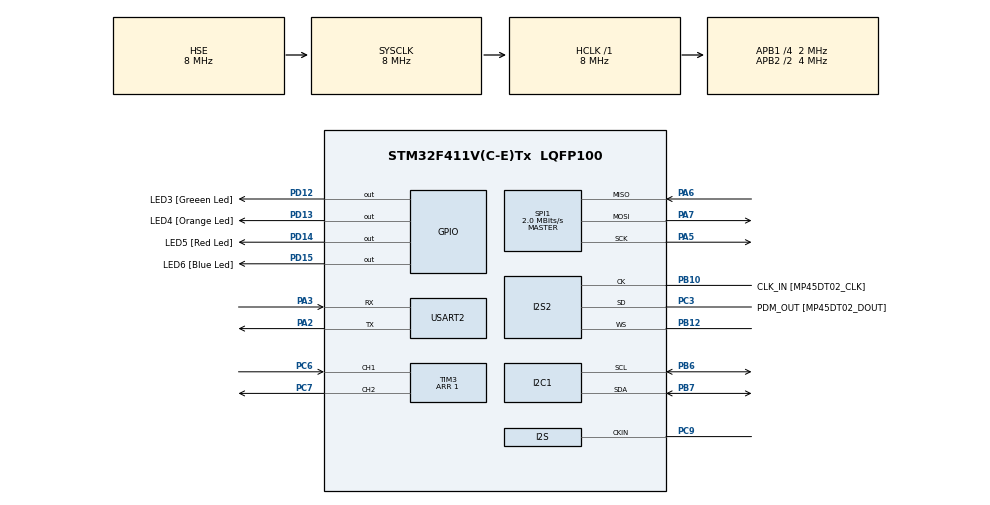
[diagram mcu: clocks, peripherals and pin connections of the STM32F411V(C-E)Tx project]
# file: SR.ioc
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Dma.Request0=SPI2_RX
Dma.SPI2_RX.0.Direction=DMA_PERIPH_TO_MEMORY
Dma.SPI2_RX.0.FIFOMode=DMA_FIFOMODE_DISABLE
Dma.SPI2_RX.0.Instance=DMA1_Stream3
Dma.SPI2_RX.0.MemDataAlignment=DMA_MDATAALIGN_HALFWORD
Dma.SPI2_RX.0.MemInc=DMA_MINC_ENABLE
Dma.SPI2_RX.0.Mode=DMA_CIRCULAR
Dma.SPI2_RX.0.PeriphDataAlignment=DMA_PDATAALIGN_HALFWORD
Dma.SPI2_RX.0.PeriphInc=DMA_PINC_DISABLE
Dma.SPI2_RX.0.Priority=DMA_PRIORITY_HIGH
I2S2.AudioFreq=I2S_AUDIOFREQ_16K
I2S2.DataFormat=I2S_DATAFORMAT_16B_EXTENDED
I2S2.ErrorAudioFreq=0.0 %
I2S2.FullDuplexMode=I2S_FULLDUPLEXMODE_DISABLE
I2S2.Instance=SPI$Index
I2S2.Mode=I2S_MODE_MASTER_RX
I2S2.RealAudioFreq=16.0 KHz
I2S2.Standard=I2S_STANDARD_MSB
I2S2.VirtualMode=I2S_MODE_MASTER
Mcu.Family=STM32F4
Mcu.Name=STM32F411V(C-E)Tx
Mcu.Package=LQFP100
NVIC.DMA1_Stream3_IRQn=true\:0\:0\:false\:false\:true\:false\:true
NVIC.PriorityGroup=NVIC_PRIORITYGROUP_0
PA2.Mode=Asynchronous
PA2.Signal=USART2_TX
PA3.Mode=Asynchronous
PA3.Signal=USART2_RX
PA5.Mode=Full_Duplex_Master
PA5.Signal=SPI1_SCK
PA6.Mode=Full_Duplex_Master
PA6.Signal=SPI1_MISO
PA7.Mode=Full_Duplex_Master
PA7.Signal=SPI1_MOSI
PB10.GPIO_Label=CLK_IN [MP45DT02_CLK]
PB10.Mode=Half_Duplex_Master
PB10.Signal=I2S2_CK
PB12.Mode=Half_Duplex_Master
PB12.Signal=I2S2_WS
PB6.Mode=I2C
PB6.Signal=I2C1_SCL
PB7.Mode=I2C
PB7.Signal=I2C1_SDA
PC3.GPIO_Label=PDM_OUT [MP45DT02_DOUT]
PC3.Mode=Half_Duplex_Master
PC3.Signal=I2S2_SD
PC6.Signal=S_TIM3_CH1
PC7.Signal=S_TIM3_CH2
PC9.Mode=Audio_ClockIn
PC9.Signal=I2S_CKIN
PD12.GPIO_Label=LED3 [Greeen Led]
PD12.Signal=GPIO_Output
PD13.GPIO_Label=LED4 [Orange Led]
PD13.Signal=GPIO_Output
PD14.GPIO_Label=LED5 [Red Led]
PD14.Signal=GPIO_Output
PD15.GPIO_Label=LED6 [Blue Led]
PD15.Signal=GPIO_Output
PH0\ -\ OSC_IN.Mode=HSE-External-Oscillator
PH0\ -\ OSC_IN.Signal=RCC_OSC_IN
PH1\ -\ OSC_OUT.Mode=HSE-External-Oscillator
PH1\ -\ OSC_OUT.Signal=RCC_OSC_OUT
ProjectManager.HeapSize=0x200
ProjectManager.StackSize=0x400
ProjectManager.TargetToolchain=STM32CubeIDE
RCC.48MHZClocksFreq_Value=7142857.142857143
RCC.AHBFreq_Value=8000000
RCC.APB1CLKDivider=RCC_HCLK_DIV4
RCC.APB1Freq_Value=2000000
RCC.APB1TimFreq_Value=4000000
RCC.APB2CLKDivider=RCC_HCLK_DIV2
RCC.APB2Freq_Value=4000000
RCC.APB2TimFreq_Value=8000000
RCC.CortexFreq_Value=8000000
RCC.HCLKFreq_Value=8000000
RCC.HSE_VALUE=8000000
RCC.HSI_VALUE=16000000
RCC.LSE_VALUE=32768
RCC.PLLI2SM=5
RCC.PLLI2SR=5
RCC.PLLM=8
RCC.PLLN=50
RCC.PLLP=RCC_PLLP_DIV4
RCC.PLLQ=7
RCC.PLLSourceVirtual=RCC_PLLSOURCE_HSE
RCC.SYSCLKFreq_VALUE=8000000
RCC.SYSCLKSource=RCC_SYSCLKSOURCE_HSE
RCC.VCOOutputFreq_Value=50000000
SH.S_TIM3_CH1.0=TIM3_CH1,TriggerSource_TI1FP1
SH.S_TIM3_CH2.0=TIM3_CH2,PWM Generation2 CH2
SPI1.CalculateBaudRate=2.0 MBits/s
SPI1.Direction=SPI_DIRECTION_2LINES
SPI1.Mode=SPI_MODE_MASTER
SPI1.VirtualType=VM_MASTER
TIM3.Channel-PWM\ Generation2\ CH2=TIM_CHANNEL_2
TIM3.Period=1
TIM3.Pulse-PWM\ Generation2\ CH2=1
USART2.VirtualMode=VM_ASYNC
VP_TIM3_VS_ControllerModeClock.Mode=Clock Mode
board=STM32F411E-DISCO

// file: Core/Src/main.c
/* USER CODE BEGIN Header */
/**
  ******************************************************************************
  * @file           : main.c
  * @brief          : Main program body
  ******************************************************************************
  * @attention
  *
  * <h2><center>&copy; Copyright (c) 2020 STMicroelectronics.
  * All rights reserved.</center></h2>
  *
  * This software component is licensed by ST under Ultimate Liberty license
  * SLA0044, the "License"; You may not use this file except in compliance with
  * the License. You may obtain a copy of the License at:
  *                             www.st.com/SLA0044
  *
  ******************************************************************************
  */
/* USER CODE END Header */

#include "main.h"
#include "dma.h"
#include "i2c.h"
#include "i2s.h"
#include "spi.h"
#include "tim.h"
#include "usart.h"
#include "gpio.h"

/* USER CODE BEGIN Includes */
#include "../Oth/stm32f411e_discovery.h"
#include "../Oth/stm32f411e_discovery_audio.h"
#include "complex.h"
#include "math.h"
/* USER CODE END Includes */

/* USER CODE BEGIN PV */

float absFloat(float in) {
	return in < 0 ? -in : in;
}

/* USER CODE END PV */

void SystemClock_Config(void);

/* USER CODE BEGIN 0 */
#define MAX 256

volatile int32_t data_full;
volatile int16_t data_short;
uint16_t data_in[128];
int ends;
//int16_t
uint16_t data_pcm[256];
uint16_t a;
uint16_t b;
uint16_t c;
uint16_t maxF;
uint16_t e;

uint8_t funcVar[4] = {3,7,11,15};
uint8_t howMuch = 2;
uint8_t counter = 0;
uint8_t epsilonik = 2;
uint8_t lastVar = 0;
uint16_t limi = 550;
uint8_t toPDM = 0;

int n = 256;
double _Complex vec[MAX];
double freq = 100;
double dt = 0.001;
double vec1[60];
double vec2[60];
double vec3[60];
double vec4[MAX];

//
// FFT based on code from https://it.wikipedia.org/wiki/Trasformata_di_Fourier_veloce
int log22(int N)
{
  int k = N, i = 0;
  while(k) {
    k >>= 1;
    i++;
  }
  return i - 1;
}

int reverse(int N, int n) \
{
  int j, p = 0;
  for(j = 1; j <= (int)log22(N); j++) {
    if(n & (1 << ((int)log22(N) - j)))
      p |= 1 << (j - 1);
  }
  return p;
}

void ordina(double _Complex* f1, int N)
{
	double _Complex f2[MAX];
  for(int i = 0; i < N; i++)
    f2[i] = f1[reverse(N, i)];
  for(int j = 0; j < N; j++)
    f1[j] = f2[j];
}

double _Complex polar1(double rho, double theta){
	return rho * cos(theta) + rho * sin(theta)*I;
}

void transform(double _Complex* f, int N)
{
  ordina(f, N);
  double _Complex *W;
  W = (double _Complex *)malloc(N / 2 * sizeof(double _Complex));
  W[1] = polar1(1., -2. * M_PI / N);
  W[0] = 1;
  for(int i = 2; i < N / 2; i++)
    W[i] = cpow(W[1], i);
  int n = 1;
  int a = N / 2;
  for(int j = 0; j < log22(N); j++) {
    for(int i = 0; i < N; i++) {
      if(!(i & n)) {
    	  double _Complex temp = f[i];
    	  double _Complex Temp = W[(i * a) % (n * a)] * f[i + n];
        f[i] = temp + Temp;
        f[i + n] = temp - Temp;
      }
    }
    n *= 2;
    a = a / 2;
  }
  free(W);
}

void FFT(double _Complex* f, int N, double d)
{
  transform(f, N);
  for(int i = 0; i < N; i++)
    f[i] *= 0.001;
}

/* USER CODE END 0 */

int main(void)
{

	/* MCU Configuration--------------------------------------------------------*/

	/* Reset of all peripherals, Initializes the Flash interface and the Systick. */
	HAL_Init();

	/* Configure the system clock */
	SystemClock_Config();

	/* Initialize all configured peripherals */
	MX_GPIO_Init();
	MX_DMA_Init();
	MX_I2S2_Init();
	MX_I2C1_Init();
	MX_SPI1_Init();
	MX_TIM3_Init();
	MX_USART2_UART_Init();

	/* Infinite loop */
	/* USER CODE BEGIN WHILE */
	BSP_LED_Off(LED3);
	BSP_LED_Off(LED4);
	BSP_LED_Off(LED5);
	BSP_LED_Off(LED6);
	HAL_Delay(2000);
	BSP_AUDIO_IN_Init(DEFAULT_AUDIO_IN_FREQ, DEFAULT_AUDIO_IN_BIT_RESOLUTION, DEFAULT_AUDIO_IN_CHANNEL_NBR);

	BSP_AUDIO_IN_Record(data_in, INTERNAL_BUFF_SIZE/2);
	BSP_AUDIO_IN_SetVolume(64);
	toPDM = 0;
	ends = 0;

	while (1)
	{
	/* USER CODE END WHILE */

	/* USER CODE BEGIN 3 */
		if(toPDM){
			toPDM = 0;

			BSP_AUDIO_IN_PDMToPCM(data_in, &data_pcm[(a%8)*32]);
			a++;
			if(a%8 == 0){
				for (int i = 0; i<256; i++){
					vec[i] = data_pcm[i];
				}
				FFT(vec, n, 1);
				b = 0;
				c = 0;
				for (int j = 1; j<128; j++){
					vec4[j] = cabs(vec[j]);
					if(b < vec4[j]){
						b = vec4[j];
						c = j;
					}
				}

				if(b > limi){
					maxF = b;
					e = c;
				}
				else{
					maxF = b;
					e = 1000;
				}

				for(int k=0; k<4; k++){
					if(e+epsilonik>=funcVar[k] && e-epsilonik<=funcVar[k] && e!=1000){
						if(k == lastVar){
							counter++;
						}
						else{
							counter = 0;
							lastVar = k;
						}
						if(counter == howMuch){
							switch(k){
							case 0:
								BSP_LED_On(LED3);
								HAL_Delay(1000);
								BSP_LED_Off(LED3);
								break;
							case 1:
								BSP_LED_On(LED4);
								HAL_Delay(1000);
								BSP_LED_Off(LED4);
								break;
							case 2:
								BSP_LED_On(LED5);
								HAL_Delay(1000);
								BSP_LED_Off(LED5);
								break;
							case 3:
								BSP_LED_On(LED6);
								HAL_Delay(1000);
								BSP_LED_Off(LED6);
								break;
							}
						}
					}
				}
			}
		}
	}
  /* USER CODE END 3 */
}

void SystemClock_Config(void)
{
  RCC_OscInitTypeDef RCC_OscInitStruct = {0};
  RCC_ClkInitTypeDef RCC_ClkInitStruct = {0};
  RCC_PeriphCLKInitTypeDef PeriphClkInitStruct = {0};

  /** Macro to configure the PLL multiplication factor
  */
  __HAL_RCC_PLL_PLLM_CONFIG(8);
  /** Macro to configure the PLL clock source
  */
  __HAL_RCC_PLL_PLLSOURCE_CONFIG(RCC_PLLSOURCE_HSE);
  /** Configure the main internal regulator output voltage
  */
  __HAL_RCC_PWR_CLK_ENABLE();
  __HAL_PWR_VOLTAGESCALING_CONFIG(PWR_REGULATOR_VOLTAGE_SCALE1);
  /** Initializes the CPU, AHB and APB busses clocks
  */
  RCC_OscInitStruct.OscillatorType = RCC_OSCILLATORTYPE_HSE;
  RCC_OscInitStruct.HSEState = RCC_HSE_ON;
  RCC_OscInitStruct.PLL.PLLState = RCC_PLL_NONE;
  RCC_OscInitStruct.PLL.PLLSource = RCC_PLLSOURCE_HSE;
  if (HAL_RCC_OscConfig(&RCC_OscInitStruct) != HAL_OK)
  {
    Error_Handler();
  }
  /** Initializes the CPU, AHB and APB busses clocks
  */
  RCC_ClkInitStruct.ClockType = RCC_CLOCKTYPE_HCLK|RCC_CLOCKTYPE_SYSCLK
                              |RCC_CLOCKTYPE_PCLK1|RCC_CLOCKTYPE_PCLK2;
  RCC_ClkInitStruct.SYSCLKSource = RCC_SYSCLKSOURCE_HSE;
  RCC_ClkInitStruct.AHBCLKDivider = RCC_SYSCLK_DIV1;
  RCC_ClkInitStruct.APB1CLKDivider = RCC_HCLK_DIV4;
  RCC_ClkInitStruct.APB2CLKDivider = RCC_HCLK_DIV2;

  if (HAL_RCC_ClockConfig(&RCC_ClkInitStruct, FLASH_LATENCY_0) != HAL_OK)
  {
    Error_Handler();
  }
  PeriphClkInitStruct.PeriphClockSelection = RCC_PERIPHCLK_I2S;
  PeriphClkInitStruct.PLLI2S.PLLI2SN = 192;
  PeriphClkInitStruct.PLLI2S.PLLI2SM = 5;
  PeriphClkInitStruct.PLLI2S.PLLI2SR = 5;
  if (HAL_RCCEx_PeriphCLKConfig(&PeriphClkInitStruct) != HAL_OK)
  {
    Error_Handler();
  }
}

/* USER CODE BEGIN 4 */
void BSP_AUDIO_IN_HalfTransfer_CallBack(){
//	BSP_LED_Toggle(LED3);
}
void BSP_AUDIO_IN_TransferComplete_CallBack(){
	toPDM = 1;
	ends++;
//	if(ends%100==0)
//		BSP_LED_Toggle(LED6);
}
/* USER CODE END 4 */

void Error_Handler(void)
{
}

/************************ (C) COPYRIGHT STMicroelectronics *****END OF FILE****/
